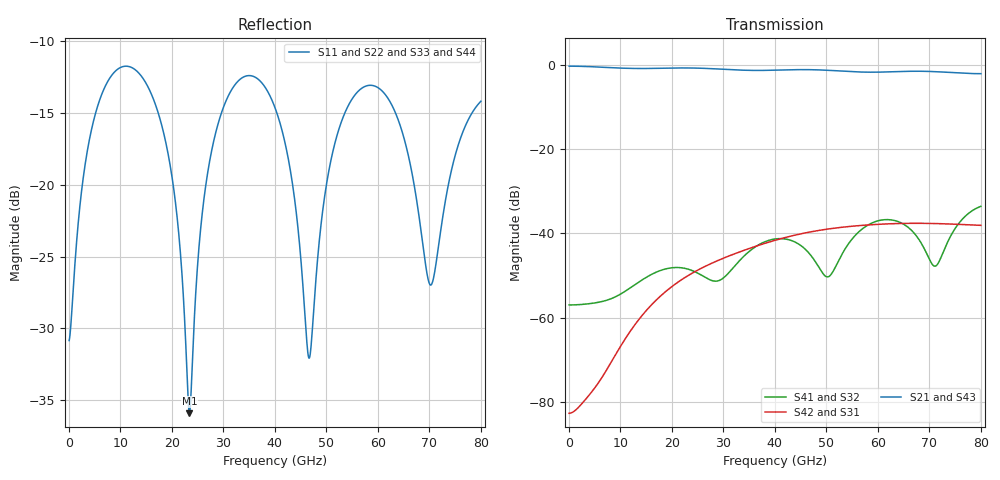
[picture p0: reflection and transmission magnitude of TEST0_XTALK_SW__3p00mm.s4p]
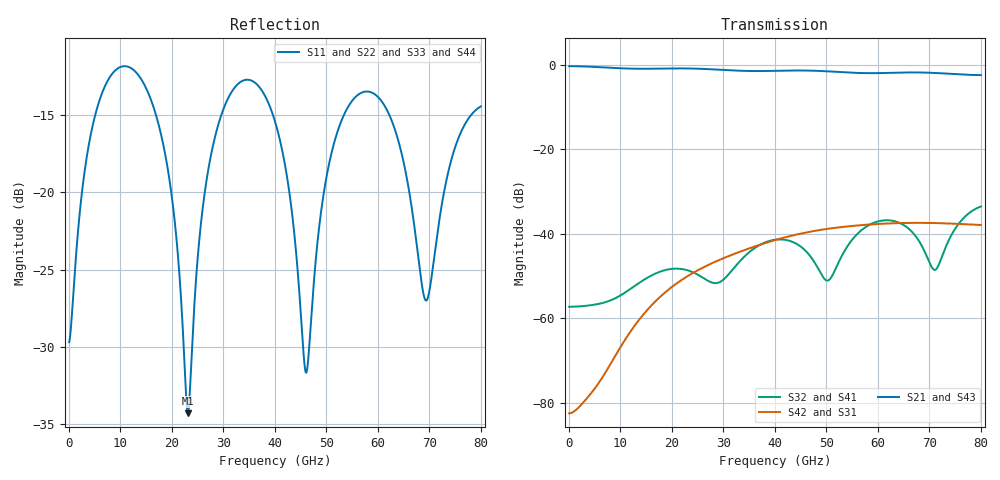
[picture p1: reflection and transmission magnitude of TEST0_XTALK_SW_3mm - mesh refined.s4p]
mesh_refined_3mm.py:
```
"""Istanbul 3 mm: coarse vs refined TD mesh, same model. CPW index (equivalent line, both
sectors), S21 phase index, Z, S11/S21, NEXT/FEXT. Eigenmode CPW pair-even 2.355 at 26.5 GHz."""
import sys, os
sys.path.insert(0, os.path.abspath(os.path.join(os.path.dirname(__file__), "../../../..")))
import numpy as np
from mzm_interconnect import xtalk_s4p as X
here = os.path.dirname(os.path.abspath(__file__))
d = lambda x: 20 * np.log10(np.abs(x))
runs = {"coarse": "TEST0_XTALK_SW__3p00mm.s4p", "refined": "TEST0_XTALK_SW_3mm - mesh refined.s4p"}
P = {k: X.load_pair(os.path.join(here, v), 3.0) for k, v in runs.items()}
for k, pr in P.items():
    f = pr["f_Hz"]; w = 2 * np.pi * f; s = pr["s"]
    gd = -np.gradient(np.unwrap(np.angle(s[:, 1, 0])), w)
    sel = (f > 5e9) & (f < 50e9)
    print(f"{k}: A/B asym {pr['sym_ab']:.1e}, end asym {pr['sym_end']:.1e}, n_g(5-50 GHz, S21 delay) {np.median(gd[sel])*X.C0/3e-3:.4f}")
print(" f GHz | n_e coarse  refined  change | n_o coarse refined | Z_e coarse refined | S11 c/r | S21 c/r | NEXT c/r | FEXT c/r")
for g in (5, 10, 20, 26.5, 30, 40, 45, 50, 60, 70, 80):
    row = f"{g:6.1f}|"
    i = {k: np.argmin(abs(pr["f_Hz"] - g * 1e9)) for k, pr in P.items()}
    c, r = P["coarse"], P["refined"]
    ec, er = c["even"]["table"][1][i["coarse"]], r["even"]["table"][1][i["refined"]]
    oc, orr = c["odd"]["table"][1][i["coarse"]], r["odd"]["table"][1][i["refined"]]
    sc, sr = c["s"][i["coarse"]], r["s"][i["refined"]]
    row += f" {ec:.4f}  {er:.4f}  {er-ec:+.4f} | {oc:.4f} {orr:.4f} | {c['even']['Z'][i['coarse']].real:5.1f} {r['even']['Z'][i['refined']].real:5.1f} |"
    row += f" {d(sc[0,0]):5.1f} {d(sr[0,0]):5.1f} | {d(sc[1,0]):5.2f} {d(sr[1,0]):5.2f} | {d(sc[2,0]):5.1f} {d(sr[2,0]):5.1f} | {d(sc[3,0]):5.1f} {d(sr[3,0]):5.1f}"
    print(row)
```
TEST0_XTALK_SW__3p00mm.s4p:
! TOUCHSTONE file generated by CST MICROWAVE STUDIO
! Date and time: Thu Oct 22 15:25:15 2026
! Project name: TEST0_XTALK_SW_3mm.cst
! Parameters = {L=3; L1=0.01; L2=0.076; PITCH=0.2; START_POSITION=0.1; W1=0.002; W2=0.022; gap=0.00415; interaxis=0.625; ln_thickness=0.000275; mtx=0.002; si_thickness=0.3; sio2_thickness=0.0047; w=1; wg=0.03; ws=0.01}
! Header version: 2024
! Port assignment regex: !\s*Touchstone port\s*([0-9]+)\s*=\s*(CST MWS port|CST DES external port|CST DES block port)\s*(.+)\s* \(\"(.*)\"\)(\s*mode\s*([0-9]+))?.*
! Touchstone port assignment:
! Touchstone port 1 = CST MWS port 1 ("")
! Touchstone port 2 = CST MWS port 2 ("")
! Touchstone port 3 = CST MWS port 3 ("")
! Touchstone port 4 = CST MWS port 4 ("")
# GHz S MA R 50
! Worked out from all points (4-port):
!   1000 points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, 80 MHz to 80 GHz, reference 50 ohm
!   strongest paths, dB at 80 MHz, 20.08 GHz, 40.08 GHz, 60.08 GHz, 80 GHz:
!     S21: -0.3, -0.7, -1.2, -1.7, -2.0
!     S43: -0.3, -0.7, -1.2, -1.7, -2.0
!     S42: -82.7, -52.6, -41.6, -37.8, -38.1
!     S31: -82.7, -52.6, -41.6, -37.8, -38.1
!     S41: -57.0, -48.1, -41.3, -37.0, -33.6
!     S32: -57.0, -48.1, -41.3, -37.0, -33.6
!   lowest |S11| = -35.9 dB at 23.44 GHz (marker M1), VSWR 1.03, Z = 51.6 - j0.13 ohm
!   |S11| at or under -10 dB: start of sweep to end of sweep
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0.08  0.02868 5.3  0.9713 -0.6  7.33e-05 176.5  0.001416 -2.4
      0.9713 -0.6  0.02867 5.3  0.001416 -2.4  7.315e-05 176.5
      7.328e-05 176.5  0.001416 -2.4  0.02868 5.3  0.9713 -0.6
      0.001416 -2.4  7.314e-05 176.5  0.9713 -0.6  0.02868 5.3
23.44  0.01599 -4.5  0.9245 -178.5  0.003234 -38.0  0.003727 91.2
       0.9245 -178.5  0.01603 -4.6  0.003727 91.2  0.003234 -38.0
       0.003234 -38.0  0.003727 91.2  0.01599 -4.5  0.9245 -178.5
       0.003727 91.2  0.003234 -38.0  0.9245 -178.5  0.01603 -4.6
80  0.1957 11.8  0.791 116.2  0.0125 50.0  0.02101 36.5
    0.791 116.2  0.1956 11.8  0.02101 36.5  0.0125 50.0
    0.0125 50.0  0.02101 36.5  0.1957 11.8  0.7909 116.2
    0.02101 36.5  0.0125 50.0  0.7909 116.2  0.1956 11.8
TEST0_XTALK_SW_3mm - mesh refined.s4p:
! TOUCHSTONE file generated by CST MICROWAVE STUDIO
! Date and time: Wed Oct 28 13:18:16 2026
! Project name: TEST0_XTALK_SW_3mm - mesh refined.cst
! Parameters = {L=3; L1=0.01; L2=0.076; PITCH=0.2; START_POSITION=0.1; W1=0.002; W2=0.022; gap=0.00415; interaxis=0.625; ln_thickness=0.000275; mtx=0.002; si_thickness=0.3; sio2_thickness=0.0047; w=1; wg=0.03; ws=0.01}
! Header version: 2024
! Port assignment regex: !\s*Touchstone port\s*([0-9]+)\s*=\s*(CST MWS port|CST DES external port|CST DES block port)\s*(.+)\s* \(\"(.*)\"\)(\s*mode\s*([0-9]+))?.*
! Touchstone port assignment:
! Touchstone port 1 = CST MWS port 1 ("")
! Touchstone port 2 = CST MWS port 2 ("")
! Touchstone port 3 = CST MWS port 3 ("")
! Touchstone port 4 = CST MWS port 4 ("")
# GHz S MA R 50
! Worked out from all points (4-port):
!   1000 points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, 80 MHz to 80 GHz, reference 50 ohm
!   strongest paths, dB at 80 MHz, 20.08 GHz, 40.08 GHz, 60.08 GHz, 80 GHz:
!     S21: -0.3, -0.8, -1.4, -1.9, -2.4
!     S43: -0.3, -0.8, -1.4, -1.9, -2.4
!     S42: -82.5, -52.5, -41.5, -37.6, -37.9
!     S31: -82.5, -52.5, -41.5, -37.6, -37.9
!     S32: -57.2, -48.3, -41.4, -37.0, -33.5
!     S41: -57.2, -48.3, -41.4, -37.0, -33.5
!   lowest |S11| = -34.3 dB at 23.12 GHz (marker M1), VSWR 1.04, Z = 51.9 - j0.252 ohm
!   |S11| at or under -10 dB: start of sweep to end of sweep
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0.08  0.03269 4.6  0.967 -0.7  7.542e-05 176.6  0.001373 -2.4
      0.967 -0.7  0.03269 4.6  0.001373 -2.4  7.527e-05 176.6
      7.54e-05 176.6  0.001373 -2.4  0.03269 4.6  0.967 -0.7
      0.001373 -2.4  7.525e-05 176.6  0.967 -0.7  0.03269 4.6
23.12  0.01923 -7.2  0.9086 -178.2  0.003175 -32.3  0.003701 98.8
       0.9086 -178.2  0.01927 -7.3  0.003701 98.8  0.003176 -32.3
       0.003175 -32.3  0.003701 98.8  0.01923 -7.3  0.9086 -178.2
       0.003701 98.8  0.003176 -32.3  0.9086 -178.2  0.01927 -7.3
80  0.1902 5.3  0.759 110.6  0.01276 44.3  0.02112 33.6
    0.759 110.6  0.1901 5.3  0.02112 33.6  0.01276 44.3
    0.01276 44.3  0.02112 33.6  0.1902 5.3  0.759 110.6
    0.02112 33.6  0.01276 44.3  0.759 110.6  0.1902 5.3
